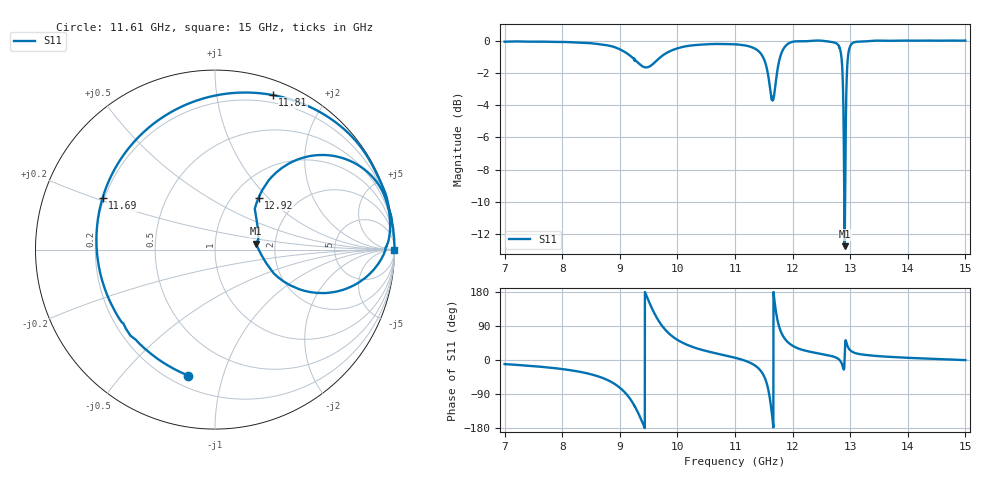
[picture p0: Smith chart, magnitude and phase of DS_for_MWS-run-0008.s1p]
! TOUCHSTONE file generated by CST DESIGN STUDIO
! Date and time: Mon Feb 10 16:45:28 2025
! Project name: C:\Work\MatlabApps\UnitCellType2OptimizationMatlab\CST\unitcell.cst
! Tree item: Tasks\Sweep1\SPara1\S-Parameters
! Header version: 2024
! Port assignment regex: !\s*Touchstone port\s*([0-9]+)\s*=\s*(CST MWS port|CST DES external port|CST DES block port)\s*(.+)\s* \(\"(.*)\"\)(\s*mode\s*([0-9]+))?.*
! Touchstone port assignment:
! Touchstone port 1 = CST DES external port 1 ("")
# GHz S MA R 50
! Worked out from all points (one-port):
!   4001 points, 7 GHz to 15 GHz, reference 50 ohm
!   lowest |S11| = -12.8 dB at 12.9 GHz (marker M1), VSWR 1.60, Z = 79.3 + j5.4 ohm
!   |S11| at or under -10 dB: 12.89729 GHz to 12.91192 GHz (14.63 MHz wide, 0.113 % of centre)
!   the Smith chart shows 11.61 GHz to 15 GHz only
!   S11 on the Smith chart (normalised r, x): 11.61 GHz: 0.27, -0.77; 11.69 GHz: 0.19, +0.21; 11.81 GHz: 0.13, +1.43; 12.92 GHz: 1.30, +0.88; 15 GHz: open
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7  0.9915 -10.8
8  0.9902 -23.9
8.636  0.9743 -43.8
9  0.9392 -73.1
9.24  0.8789 -117.0
9.442  0.8255 177.3
9.562  0.8417 135.1
9.67  0.8766 104.4
10  0.9456 53.2
10.37  0.9699 29.2
11  0.9731 6.0
11.442  0.914 -27.6
11.532  0.8468 -52.8
11.606  0.7173 -101.9
11.65  0.6523 -154.8
11.686  0.6893 155.3
11.742  0.8209 102.2
11.812  0.9193 69.5
12  0.991 37.6
12.778  0.9747 4.5
12.862  0.8242 -12.7
12.904  0.2304 8.0
12.916  0.3781 50.0
12.952  0.853 37.5
13  0.9609 25.7
13.228  0.9931 14.1
14  0.9991 5.8
15  0.9997 -0.3
